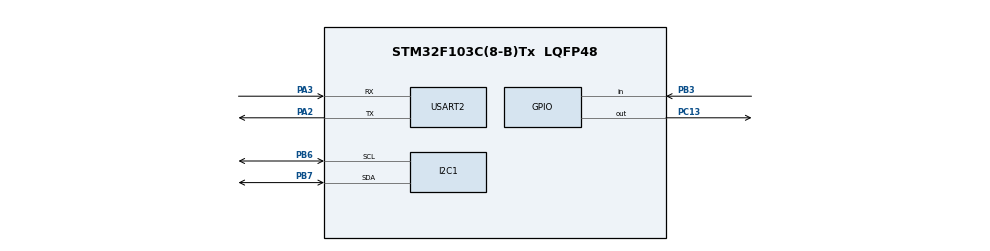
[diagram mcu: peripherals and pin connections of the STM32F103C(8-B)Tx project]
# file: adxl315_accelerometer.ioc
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Mcu.Family=STM32F1
Mcu.Name=STM32F103C(8-B)Tx
Mcu.Package=LQFP48
NVIC.I2C1_ER_IRQn=true\:0\:0\:false\:false\:true\:true\:true\:true
NVIC.I2C1_EV_IRQn=true\:0\:0\:false\:false\:true\:true\:true\:true
NVIC.PriorityGroup=NVIC_PRIORITYGROUP_4
NVIC.USART2_IRQn=true\:0\:0\:false\:false\:true\:true\:true\:true
PA13.Mode=Serial_Wire
PA13.Signal=SYS_JTMS-SWDIO
PA14.Mode=Serial_Wire
PA14.Signal=SYS_JTCK-SWCLK
PA2.Mode=Asynchronous
PA2.Signal=USART2_TX
PA3.Mode=Asynchronous
PA3.Signal=USART2_RX
PB3.Signal=GPIO_Input
PB6.Mode=I2C
PB6.Signal=I2C1_SCL
PB7.Mode=I2C
PB7.Signal=I2C1_SDA
PC13-TAMPER-RTC.GPIO_PuPd=GPIO_PULLUP
PC13-TAMPER-RTC.Signal=GPIO_Output
ProjectManager.HeapSize=0x200
ProjectManager.StackSize=0x400
ProjectManager.TargetToolchain=STM32CubeIDE
RCC.APB1Freq_Value=8000000
RCC.APB2Freq_Value=8000000
USART2.VirtualMode=VM_ASYNC
board=custom

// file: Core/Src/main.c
/* USER CODE BEGIN Header */
/**
  ******************************************************************************
  * @file           : main.c
  * @brief          : Main program body
  ******************************************************************************
  * @attention
  *
  * Copyright (c) 2025 STMicroelectronics.
  * All rights reserved.
  *
  * This software is licensed under terms that can be found in the LICENSE file
  * in the root directory of this software component.
  * If no LICENSE file comes with this software, it is provided AS-IS.
  *
  ******************************************************************************
  */
/* USER CODE END Header */
#include "main.h"
#include "i2c.h"
#include "usart.h"
#include "gpio.h"

/* USER CODE BEGIN Includes */
#include "adxl.h"
/* USER CODE END Includes */

/* USER CODE BEGIN PV */
int16_t x, y, z;
float xg, yg, zg;
/* USER CODE END PV */

void SystemClock_Config(void);
/* USER CODE BEGIN PFP */
void adxl_write(uint8_t reg, uint8_t value);
void adxl_read_values(uint8_t reg);
void adxl_read_address(uint8_t reg);
void adxl_init(void);
/* USER CODE END PFP */

int main(void)
{

  /* MCU Configuration--------------------------------------------------------*/

  /* Reset of all peripherals, Initializes the Flash interface and the Systick. */
  HAL_Init();

  /* Configure the system clock */
  SystemClock_Config();

  /* Initialize all configured peripherals */
  MX_GPIO_Init();
  MX_USART2_UART_Init();
  MX_I2C1_Init();
  /* USER CODE BEGIN 2 */
  adxl_init();
  /* USER CODE END 2 */

  /* Infinite loop */
  /* USER CODE BEGIN WHILE */
  while (1)
  {
	  adxl_read_values(DATA_START_ADDR);
	  x = ((data_rec[1]<<8)|data_rec[0]);
	  y = ((data_rec[3]<<8)|data_rec[2]);
	  z = ((data_rec[5]<<8)|data_rec[4]);

	  xg = x * FOUR_G_SCALE_FACTOR;
	  yg = y * FOUR_G_SCALE_FACTOR;
	  zg = z * FOUR_G_SCALE_FACTOR;

	  HAL_Delay(10);
    /* USER CODE END WHILE */

  }
}

void SystemClock_Config(void)
{
  RCC_OscInitTypeDef RCC_OscInitStruct = {0};
  RCC_ClkInitTypeDef RCC_ClkInitStruct = {0};

  /** Initializes the RCC Oscillators according to the specified parameters
  * in the RCC_OscInitTypeDef structure.
  */
  RCC_OscInitStruct.OscillatorType = RCC_OSCILLATORTYPE_HSI;
  RCC_OscInitStruct.HSIState = RCC_HSI_ON;
  RCC_OscInitStruct.HSICalibrationValue = RCC_HSICALIBRATION_DEFAULT;
  RCC_OscInitStruct.PLL.PLLState = RCC_PLL_NONE;
  if (HAL_RCC_OscConfig(&RCC_OscInitStruct) != HAL_OK)
  {
    Error_Handler();
  }

  /** Initializes the CPU, AHB and APB buses clocks
  */
  RCC_ClkInitStruct.ClockType = RCC_CLOCKTYPE_HCLK|RCC_CLOCKTYPE_SYSCLK
                              |RCC_CLOCKTYPE_PCLK1|RCC_CLOCKTYPE_PCLK2;
  RCC_ClkInitStruct.SYSCLKSource = RCC_SYSCLKSOURCE_HSI;
  RCC_ClkInitStruct.AHBCLKDivider = RCC_SYSCLK_DIV1;
  RCC_ClkInitStruct.APB1CLKDivider = RCC_HCLK_DIV1;
  RCC_ClkInitStruct.APB2CLKDivider = RCC_HCLK_DIV1;

  if (HAL_RCC_ClockConfig(&RCC_ClkInitStruct, FLASH_LATENCY_0) != HAL_OK)
  {
    Error_Handler();
  }
}

void Error_Handler(void)
{
  __disable_irq();
  while (1)
  {
  }
}
